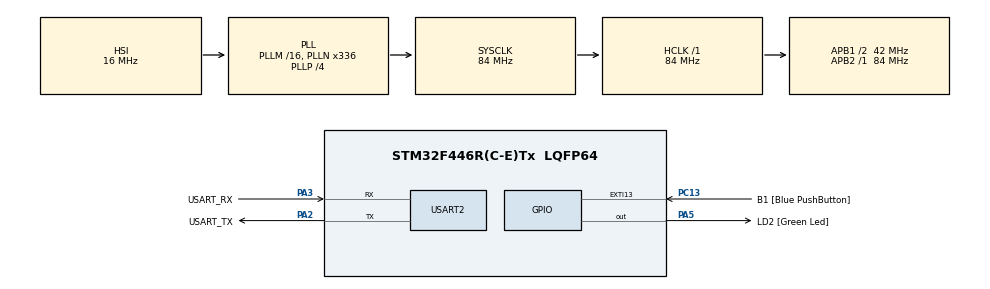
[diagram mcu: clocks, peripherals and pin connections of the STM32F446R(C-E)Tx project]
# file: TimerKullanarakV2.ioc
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Mcu.Family=STM32F4
Mcu.Name=STM32F446R(C-E)Tx
Mcu.Package=LQFP64
NVIC.PriorityGroup=NVIC_PRIORITYGROUP_0
NVIC.TIM2_IRQn=true\:0\:0\:false\:false\:true\:true\:true\:true
PA13.GPIO_Label=TMS
PA13.Mode=Serial_Wire
PA13.Signal=SYS_JTMS-SWDIO
PA14.GPIO_Label=TCK
PA14.Mode=Serial_Wire
PA14.Signal=SYS_JTCK-SWCLK
PA2.GPIO_Label=USART_TX
PA2.Mode=Asynchronous
PA2.Signal=USART2_TX
PA3.GPIO_Label=USART_RX
PA3.Mode=Asynchronous
PA3.Signal=USART2_RX
PA5.GPIO_Label=LD2 [Green Led]
PA5.Signal=GPIO_Output
PB3.GPIO_Label=SWO
PB3.Signal=SYS_JTDO-SWO
PC13.GPIO_Label=B1 [Blue PushButton]
PC13.GPIO_ModeDefaultEXTI=GPIO_MODE_IT_FALLING
PC13.Signal=GPXTI13
PC14-OSC32_IN.Mode=LSE-External-Oscillator
PC14-OSC32_IN.Signal=RCC_OSC32_IN
PC15-OSC32_OUT.Mode=LSE-External-Oscillator
PC15-OSC32_OUT.Signal=RCC_OSC32_OUT
PH0-OSC_IN.Mode=HSE-External-Oscillator
PH0-OSC_IN.Signal=RCC_OSC_IN
PH1-OSC_OUT.Mode=HSE-External-Oscillator
PH1-OSC_OUT.Signal=RCC_OSC_OUT
ProjectManager.HeapSize=0x200
ProjectManager.StackSize=0x400
ProjectManager.TargetToolchain=STM32CubeIDE
RCC.48MHZClocksFreq_Value=84000000
RCC.AHBFreq_Value=84000000
RCC.APB1CLKDivider=RCC_HCLK_DIV2
RCC.APB1Freq_Value=42000000
RCC.APB1TimFreq_Value=84000000
RCC.APB2Freq_Value=84000000
RCC.APB2TimFreq_Value=84000000
RCC.CortexFreq_Value=84000000
RCC.FLatency-AdvancedSettings=FLASH_LATENCY_2
RCC.HCLKFreq_Value=84000000
RCC.HSE_VALUE=8000000
RCC.HSI_VALUE=16000000
RCC.PLLN=336
RCC.PLLP=RCC_PLLP_DIV4
RCC.SYSCLKFreq_VALUE=84000000
RCC.SYSCLKSource=RCC_SYSCLKSOURCE_PLLCLK
RCC.USBFreq_Value=168000000
RCC.VCOOutputFreq_Value=336000000
USART2.VirtualMode=VM_ASYNC
VP_TIM2_VS_ClockSourceINT.Mode=Internal
board=NUCLEO-F446RE

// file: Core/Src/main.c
/* USER CODE BEGIN Header */
/**
  ******************************************************************************
  * @file           : main.c
  * @brief          : Main program body
  ******************************************************************************
  * @attention
  *
  * Copyright (c) 2025 STMicroelectronics.
  * All rights reserved.
  *
  * This software is licensed under terms that can be found in the LICENSE file
  * in the root directory of this software component.
  * If no LICENSE file comes with this software, it is provided AS-IS.
  *
  ******************************************************************************
  */
/* USER CODE END Header */
#include "main.h"

TIM_HandleTypeDef htim2;

UART_HandleTypeDef huart2;

void SystemClock_Config(void);
static void MX_GPIO_Init(void);
static void MX_USART2_UART_Init(void);
static void MX_TIM2_Init(void);

/* USER CODE BEGIN 0 */

int _write(int fd, char *ptr, int len){

	HAL_StatusTypeDef hstatus;
	if (fd == 1 || fd ==2){
	hstatus = HAL_UART_Transmit(&huart2, (uint8_t*)ptr, len, HAL_MAX_DELAY);
	if (hstatus == HAL_OK){
		return len;
	}
	else {
		return -1;
	}
	return -1;
}

void delay_us (uint8_t us){
	uint32_t start = htim2.Instance->CNT;
	uint32_t end = start + us;

	while (htim2.Instance -> CNT < end );

}

/* USER CODE END 0 */

int main(void)
{

  /* MCU Configuration--------------------------------------------------------*/

  /* Reset of all peripherals, Initializes the Flash interface and the Systick. */
  HAL_Init();

  /* Configure the system clock */
  SystemClock_Config();

  /* Initialize all configured peripherals */
  MX_GPIO_Init();
  MX_USART2_UART_Init();
  MX_TIM2_Init();
  /* USER CODE BEGIN 2 */

  HAL_TIM_Base_Start(&htim2);

  /* USER CODE END 2 */

  /* Infinite loop */
  /* USER CODE BEGIN WHILE */

  uint32_t loopcnt = 0, now = 0, nextblink = 500, nextTick = 1000;

  while (1)
  {

	  now = uwTick;
	  if (now >= nextblink){
		  HAL_GPIO_TogglePin(LD2_GPIO_Port, LD2_Pin);
		  nextblink = now + 500;
	  }

	  if (now >= nextTick ){
		  loopcnt = 0;
		  nextTick = now + 1000;

	  }
	  delay_us (20);
	  ++ loopcnt;

    /* USER CODE END WHILE */

  }
}

void SystemClock_Config(void)
{
  RCC_OscInitTypeDef RCC_OscInitStruct = {0};
  RCC_ClkInitTypeDef RCC_ClkInitStruct = {0};

  /** Configure the main internal regulator output voltage
  */
  __HAL_RCC_PWR_CLK_ENABLE();
  __HAL_PWR_VOLTAGESCALING_CONFIG(PWR_REGULATOR_VOLTAGE_SCALE3);

  /** Initializes the RCC Oscillators according to the specified parameters
  * in the RCC_OscInitTypeDef structure.
  */
  RCC_OscInitStruct.OscillatorType = RCC_OSCILLATORTYPE_HSI;
  RCC_OscInitStruct.HSIState = RCC_HSI_ON;
  RCC_OscInitStruct.HSICalibrationValue = RCC_HSICALIBRATION_DEFAULT;
  RCC_OscInitStruct.PLL.PLLState = RCC_PLL_ON;
  RCC_OscInitStruct.PLL.PLLSource = RCC_PLLSOURCE_HSI;
  RCC_OscInitStruct.PLL.PLLM = 16;
  RCC_OscInitStruct.PLL.PLLN = 336;
  RCC_OscInitStruct.PLL.PLLP = RCC_PLLP_DIV4;
  RCC_OscInitStruct.PLL.PLLQ = 2;
  RCC_OscInitStruct.PLL.PLLR = 2;
  if (HAL_RCC_OscConfig(&RCC_OscInitStruct) != HAL_OK)
  {
    Error_Handler();
  }

  /** Initializes the CPU, AHB and APB buses clocks
  */
  RCC_ClkInitStruct.ClockType = RCC_CLOCKTYPE_HCLK|RCC_CLOCKTYPE_SYSCLK
                              |RCC_CLOCKTYPE_PCLK1|RCC_CLOCKTYPE_PCLK2;
  RCC_ClkInitStruct.SYSCLKSource = RCC_SYSCLKSOURCE_PLLCLK;
  RCC_ClkInitStruct.AHBCLKDivider = RCC_SYSCLK_DIV1;
  RCC_ClkInitStruct.APB1CLKDivider = RCC_HCLK_DIV2;
  RCC_ClkInitStruct.APB2CLKDivider = RCC_HCLK_DIV1;

  if (HAL_RCC_ClockConfig(&RCC_ClkInitStruct, FLASH_LATENCY_2) != HAL_OK)
  {
    Error_Handler();
  }
}

static void MX_TIM2_Init(void)
{

  TIM_ClockConfigTypeDef sClockSourceConfig = {0};
  TIM_MasterConfigTypeDef sMasterConfig = {0};

  htim2.Instance = TIM2;
  htim2.Init.Prescaler = 0;
  htim2.Init.CounterMode = TIM_COUNTERMODE_UP;
  htim2.Init.Period = 4294967295;
  htim2.Init.ClockDivision = TIM_CLOCKDIVISION_DIV1;
  htim2.Init.AutoReloadPreload = TIM_AUTORELOAD_PRELOAD_DISABLE;
  if (HAL_TIM_Base_Init(&htim2) != HAL_OK)
  {
    Error_Handler();
  }
  sClockSourceConfig.ClockSource = TIM_CLOCKSOURCE_INTERNAL;
  if (HAL_TIM_ConfigClockSource(&htim2, &sClockSourceConfig) != HAL_OK)
  {
    Error_Handler();
  }
  sMasterConfig.MasterOutputTrigger = TIM_TRGO_RESET;
  sMasterConfig.MasterSlaveMode = TIM_MASTERSLAVEMODE_DISABLE;
  if (HAL_TIMEx_MasterConfigSynchronization(&htim2, &sMasterConfig) != HAL_OK)
  {
    Error_Handler();
  }

}

static void MX_USART2_UART_Init(void)
{

  huart2.Instance = USART2;
  huart2.Init.BaudRate = 115200;
  huart2.Init.WordLength = UART_WORDLENGTH_8B;
  huart2.Init.StopBits = UART_STOPBITS_1;
  huart2.Init.Parity = UART_PARITY_NONE;
  huart2.Init.Mode = UART_MODE_TX_RX;
  huart2.Init.HwFlowCtl = UART_HWCONTROL_NONE;
  huart2.Init.OverSampling = UART_OVERSAMPLING_16;
  if (HAL_UART_Init(&huart2) != HAL_OK)
  {
    Error_Handler();
  }

}

static void MX_GPIO_Init(void)
{
  GPIO_InitTypeDef GPIO_InitStruct = {0};

  /* GPIO Ports Clock Enable */
  __HAL_RCC_GPIOC_CLK_ENABLE();
  __HAL_RCC_GPIOH_CLK_ENABLE();
  __HAL_RCC_GPIOA_CLK_ENABLE();
  __HAL_RCC_GPIOB_CLK_ENABLE();

  /*Configure GPIO pin Output Level */
  HAL_GPIO_WritePin(LD2_GPIO_Port, LD2_Pin, GPIO_PIN_RESET);

  /*Configure GPIO pin : B1_Pin */
  GPIO_InitStruct.Pin = B1_Pin;
  GPIO_InitStruct.Mode = GPIO_MODE_IT_FALLING;
  GPIO_InitStruct.Pull = GPIO_NOPULL;
  HAL_GPIO_Init(B1_GPIO_Port, &GPIO_InitStruct);

  /*Configure GPIO pin : LD2_Pin */
  GPIO_InitStruct.Pin = LD2_Pin;
  GPIO_InitStruct.Mode = GPIO_MODE_OUTPUT_PP;
  GPIO_InitStruct.Pull = GPIO_NOPULL;
  GPIO_InitStruct.Speed = GPIO_SPEED_FREQ_LOW;
  HAL_GPIO_Init(LD2_GPIO_Port, &GPIO_InitStruct);

}

void Error_Handler(void)
{
  __disable_irq();
  while (1)
  {
  }
}
